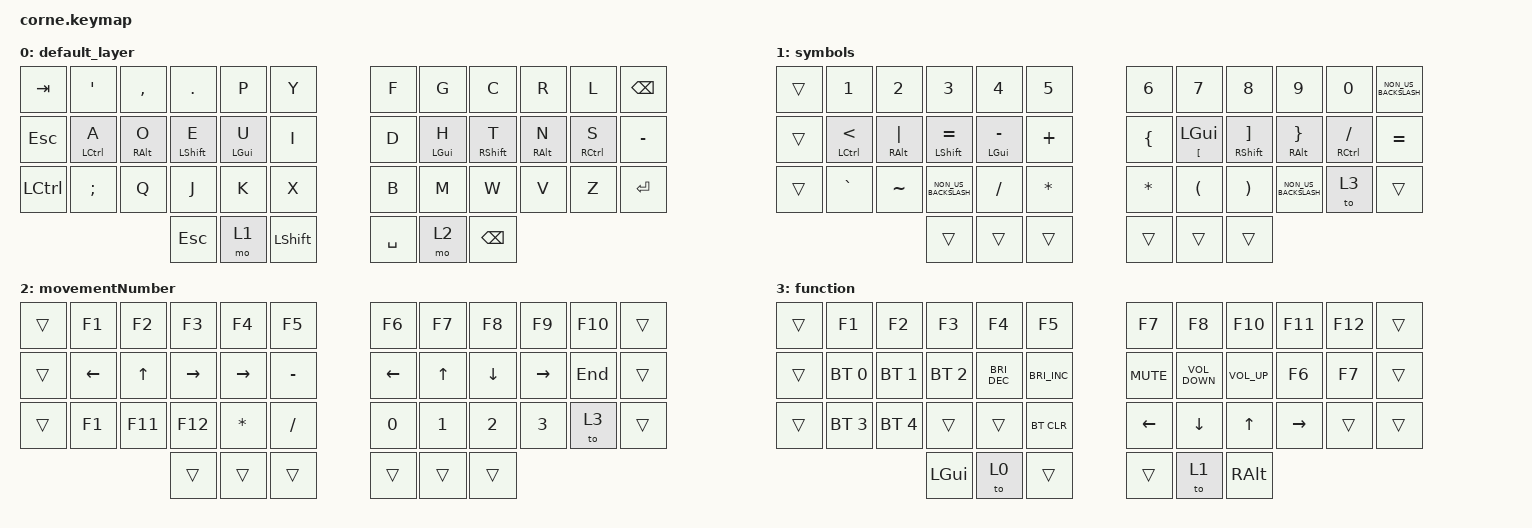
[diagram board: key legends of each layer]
/*
 * Copyright (c) 2020 The ZMK Contributors
 *
 * SPDX-License-Identifier: MIT
 */

#include <behaviors.dtsi>
#include <dt-bindings/zmk/bt.h>
#include <dt-bindings/zmk/keys.h>

/ {
    behaviors {
        hm: homerow_mods {
            compatible = "zmk,behavior-hold-tap";
            label = "HOMEROW_MODS";
            #binding-cells = <2>;
            tapping-term-ms = <150>;
            quick_tap_ms = <0>;
            flavor = "tap-preferred";
            bindings = <&kp>, <&kp>;
        };

        HomeLayer: HomeLayer {
            compatible = "zmk,behavior-hold-tap";
            label = "HOMELAYER";
            bindings = <&to>, <&kp>;

            #binding-cells = <2>;
            tapping-term-ms = <150>;
            flavor = "tap-preferred";
        };
    };

    keymap {
        compatible = "zmk,keymap";

        default_layer {
            // -----------------------------------------------------------------------------------------
            // |  TAB |  Q  |  W  |  E  |  R  |  T  |   |  Y  |  U   |  I  |  O  |  P  | BKSP |
            // | CTRL |  A  |  S  |  D  |  F  |  G  |   |  H  |  J   |  K  |  L  |  ;  |  '   |
            // | SHFT |  Z  |  X  |  C  |  V  |  B  |   |  N  |  M   |  ,  |  .  |  /  | ESC  |
            //                    | GUI | LWR | SPC |   | ENT | RSE  | ALT |

            bindings = <
&kp TAB     &kp SQT        &kp COMMA   &kp PERIOD        &kp P       &kp Y             &kp F      &kp G       &kp C          &kp R       &kp L        &kp BSPC
&kp ESCAPE  &hm LCTRL A    &hm RALT O  &hm LEFT_SHIFT E  &hm LGUI U  &kp I             &kp D      &hm LGUI H  &hm RSHIFT T   &hm RALT N  &hm RCTRL S  &kp MINUS
&kp LCTRL   &kp SEMICOLON  &kp Q       &kp J             &kp K       &kp X             &kp B      &kp M       &kp W          &kp V       &kp Z        &kp ENTER
                                       &kp ESC           &mo 1       &kp LEFT_SHIFT    &kp SPACE  &mo 2       &kp BACKSPACE
            >;
        };

        symbols {
            // -----------------------------------------------------------------------------------------
            // |  TAB |  !  |  @  |  #  |  $  |  %  |   |  ^  |  &  |  *  |  (  |  )  | BKSP |
            // | CTRL |     |     |     |     |     |   |  -  |  =  |  [  |  ]  |  \  |  `   |
            // | SHFT |     |     |     |     |     |   |  _  |  +  |  {  |  }  | "|" |  ~   |
            //                    | GUI |     | SPC |   | ENT |     | ALT |

            bindings = <
&trans  &kp NUMBER_1                &kp NUMBER_2        &kp NUMBER_3          &kp NUMBER_4        &kp N5          &kp NUMBER_6    &kp N7                     &kp N8                         &kp N9                     &kp N0           &kp NON_US_BACKSLASH
&trans  &hm LEFT_CONTROL LESS_THAN  &hm RIGHT_ALT PIPE  &hm LEFT_SHIFT EQUAL  &hm LEFT_GUI MINUS  &kp PLUS        &kp LEFT_BRACE  &hm LEFT_BRACKET LEFT_GUI  &hm RIGHT_SHIFT RIGHT_BRACKET  &hm RIGHT_ALT RIGHT_BRACE  &hm RCTRL SLASH  &kp EQUAL
&trans  &kp GRAVE                   &kp TILDE           &kp NON_US_BACKSLASH  &kp SLASH           &kp ASTERISK    &kp ASTERISK    &kp LEFT_PARENTHESIS       &kp RIGHT_PARENTHESIS          &kp NON_US_BACKSLASH       &to 3            &trans
                                                        &trans                &trans              &trans          &trans          &trans                     &trans
            >;
        };

        movementNumber {
            bindings = <
&trans  &kp F1    &kp F2        &kp F3     &kp F4        &kp F5       &kp F6          &kp F7        &kp F8        &kp F9        &kp F10  &trans
&trans  &kp LEFT  &kp UP_ARROW  &kp RIGHT  &kp RIGHT     &kp MINUS    &kp LEFT_ARROW  &kp UP_ARROW  &kp DOWN      &kp RIGHT     &kp END  &trans
&trans  &kp F1    &kp F11       &kp F12    &kp ASTERISK  &kp SLASH    &kp NUMBER_0    &kp NUMBER_1  &kp NUMBER_2  &kp NUMBER_3  &to 3    &trans
                                &trans     &trans        &trans       &trans          &trans        &trans
            >;
        };

        function {
            // -----------------------------------------------------------------------------------------
            // |  TAB |  1  |  2  |  3  |  4  |  5  |   |  6  |  7  |  8  |  9  |  0  | BKSP |
            // | BTCLR| BT1 | BT2 | BT3 | BT4 | BT5 |   | LFT | DWN |  UP | RGT |     |      |
            // | SHFT |     |     |     |     |     |   |     |     |     |     |     |      |
            //                    | GUI |     | SPC |   | ENT |     | ALT |

            bindings = <
&trans  &kp F1        &kp F2        &kp F3        &kp F4                &kp F5                  &kp F7      &kp F8             &kp F10          &kp F11          &kp F12  &trans
&trans  &bt BT_SEL 0  &bt BT_SEL 1  &bt BT_SEL 2  &kp C_BRIGHTNESS_DEC  &kp C_BRIGHTNESS_INC    &kp C_MUTE  &kp C_VOLUME_DOWN  &kp C_VOLUME_UP  &kp F6           &kp F7   &trans
&trans  &bt BT_SEL 3  &bt BT_SEL 4  &trans        &trans                &bt BT_CLR              &kp LEFT    &kp DOWN_ARROW     &kp UP_ARROW     &kp RIGHT_ARROW  &trans   &trans
                                    &kp LGUI      &to 0                 &trans                  &trans      &to 1              &kp RALT
            >;
        };
    };
};
